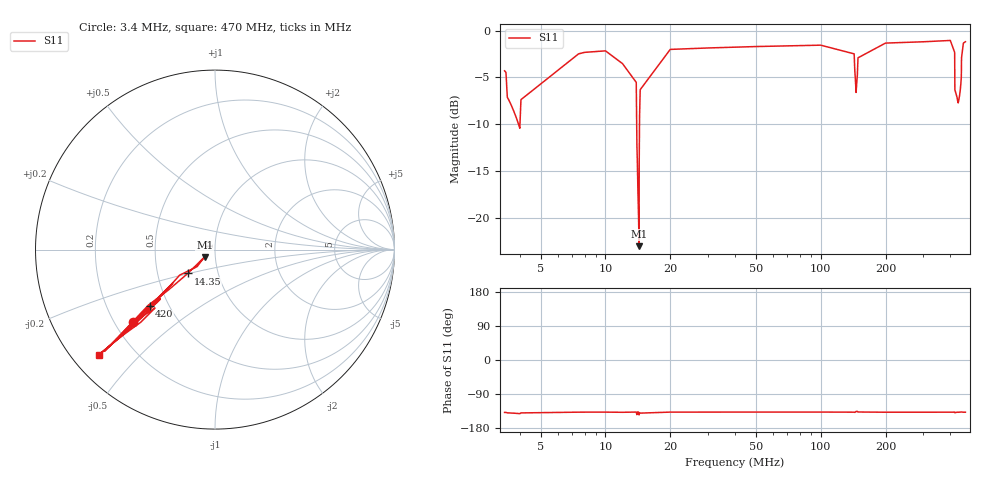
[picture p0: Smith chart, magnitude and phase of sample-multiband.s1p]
# MHz S RI R 50
! Multi-band antenna sweep from NanoVNA
! Sample data showing SWR across 80m, 20m, 2m, and 70cm bands
! 80m band (3.5-4.0 MHz) - Good SWR
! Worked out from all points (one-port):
!   69 points, 3.4 MHz to 470 MHz, reference 50 ohm
!   lowest |S11| = -23.0 dB at 14.32 MHz (marker M1), VSWR 1.15, Z = 44.4 - j3.63 ohm
!   |S11| at or under -10 dB: 3.945 MHz to 4.007 MHz (62.37 kHz wide, 1.57 % of centre); 13.97 MHz to 14.39 MHz (426.2 kHz wide, 3.01 % of centre)
!   S11 on the Smith chart (normalised r, x): 3.4 MHz: 0.28, -0.36; 14.35 MHz: 0.71, -0.20; 420 MHz: 0.39, -0.32; 470 MHz: 0.08, -0.38
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3.4  -0.4547 -0.4055
3.45  -0.4456 -0.3969
3.5  -0.3347 -0.2855
4  -0.2356 -0.1869
4.05  -0.3256 -0.2769
7.5  -0.5547 -0.5055
12  -0.4947 -0.4455
13.9  -0.3891 -0.3578
14  -0.1969 -0.1422
14.325  -0.0577 -0.0406
14.35  -0.1516 -0.1328
14.4  -0.2594 -0.225
14.5  -0.3711 -0.3094
20  -0.5847 -0.5355
30  -0.5947 -0.5455
50  -0.6047 -0.5555
100  -0.6147 -0.5655
143  -0.5547 -0.5055
146  -0.3347 -0.3255
149  -0.5247 -0.4855
300  -0.6447 -0.5855
400  -0.6547 -0.5955
419  -0.5647 -0.5155
420  -0.3647 -0.3155
442  -0.3347 -0.3055
450  -0.4147 -0.3855
451  -0.5247 -0.4855
470  -0.6447 -0.5855
